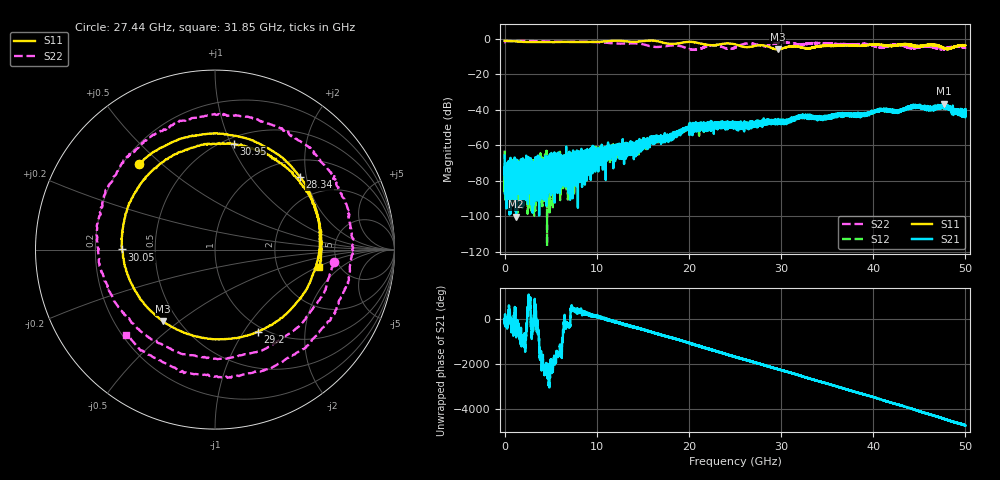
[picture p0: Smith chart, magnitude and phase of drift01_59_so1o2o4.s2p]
!Created with skrf (http://scikit-rf.org).
# Hz S RI R 50.0
!freq ReS11 ImS11 ReS21 ImS21 ReS12 ImS12 ReS22 ImS22
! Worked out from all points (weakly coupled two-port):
!   10001 points, 300 kHz to 50 GHz, reference 50 ohm
!   highest |S21| = -36.75 dB at 47.64 GHz (marker M1); lowest = -100.3 dB at 1.25 GHz (marker M2)
!   lowest |S11| = -6.2 dB at 29.65 GHz (marker M3), VSWR 2.94, Z = 20.8 - j21.9 ohm
!   |S11| at or under -10 dB: nowhere
!   |S22| runs from -6.4 to -1.4 dB; largest |S21 - S12| = 0.0038
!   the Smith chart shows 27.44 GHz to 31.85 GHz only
!   S11 on the Smith chart (normalised r, x): 27.44 GHz: 0.27, +0.42; 28.34 GHz: 1.39, +1.84; 29.2 GHz: 0.93, -1.16; 30.05 GHz: 0.32, +0.00; 30.95 GHz: 0.56, +1.02; 31.85 GHz: 3.53, -1.07
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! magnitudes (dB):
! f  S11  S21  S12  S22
! 300 kHz  -1.3  -65.9  -63.1  -2.1
! 255.3 MHz  -1.4  -74.9  -78.3  -1.4
! 1.25 GHz  -1.7  -100.3  -80.2  -1.4
! 4.1 GHz  -2.0  -75.2  -75.1  -1.5
! 8.335 GHz  -2.0  -62.1  -66.4  -1.8
! 16.67 GHz  -1.6  -56.5  -55.9  -4.8
! 18.62 GHz  -2.9  -55.0  -53.3  -3.9
! 20.32 GHz  -1.9  -49.9  -51.5  -6.2
! 22.62 GHz  -3.8  -48.9  -48.4  -3.8
! 25 GHz  -3.3  -48.6  -48.6  -5.0
! 27.44 GHz  -3.9  -47.7  -48.2  -3.5
! 28.34 GHz  -4.1  -47.3  -47.9  -4.3
! 29.2 GHz  -5.8  -47.8  -47.3  -3.0
! 29.65 GHz  -6.2  -46.9  -47.7  -2.5
! 30.05 GHz  -5.7  -46.9  -46.9  -2.3
! 30.95 GHz  -4.5  -45.8  -46.3  -2.5
! 31.85 GHz  -4.6  -44.7  -43.8  -3.3
! 33.34 GHz  -5.2  -44.6  -44.3  -2.6
! 41.67 GHz  -4.3  -39.9  -40.7  -4.0
! 46.42 GHz  -3.6  -39.2  -39.4  -4.8
! 47.64 GHz  -5.5  -36.8  -38.3  -5.8
! 50 GHz  -3.9  -39.8  -42.1  -5.2
